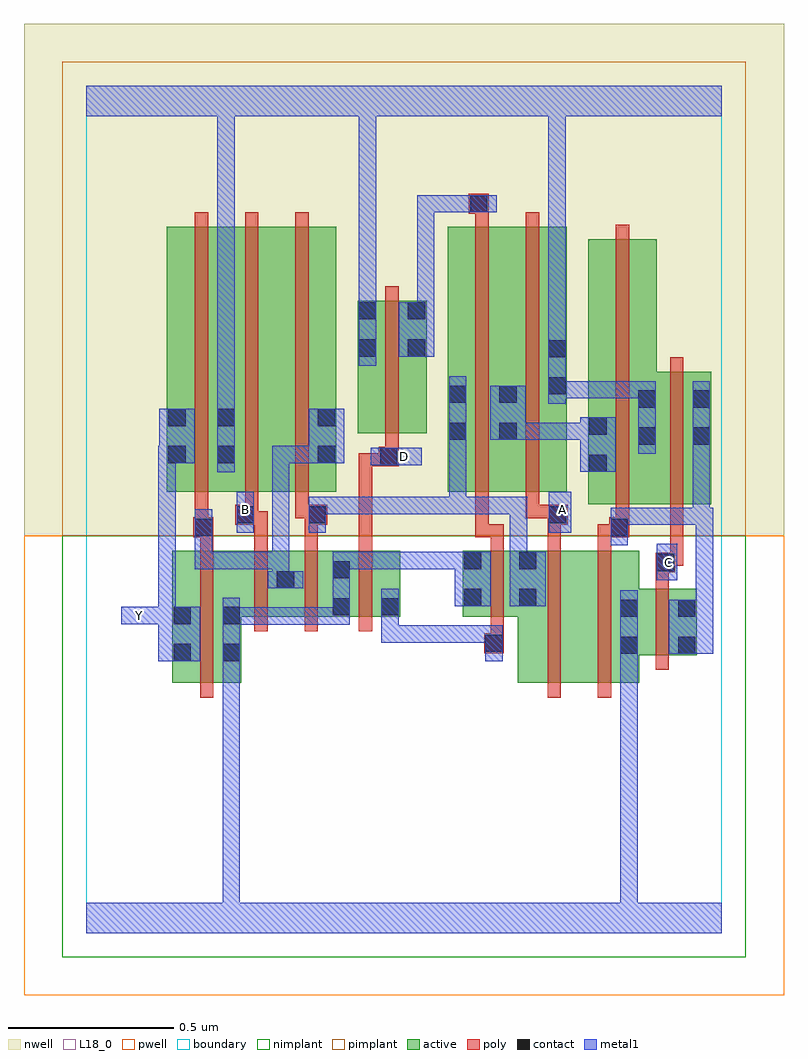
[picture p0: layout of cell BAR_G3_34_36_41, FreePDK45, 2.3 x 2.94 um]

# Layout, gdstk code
import gdstk
lib = gdstk.Library(unit=1e-6, precision=1e-09)
def R(c, l, rs):  # rectangles x0, y0, x1, y1
    for r in rs: c.add(gdstk.rectangle(r[:2], r[2:], *l))
def A(c, l, x, y, w, h, nx, ny, dx, dy):  # array of equal rectangles
    R(c, l, [(x+i*dx, y+j*dy, x+i*dx+w, y+j*dy+h) for i in range(nx) for j in range(ny)])
active = (1, 0)
pwell = (2, 0)
nwell = (3, 0)
nimplant = (4, 0)
pimplant = (5, 0)
poly = (9, 0)
contact = (10, 0)
metal1 = (11, 0)
L18_0 = (18, 0)
boundary = (235, 0)

bar_g3_34_36_41 = lib.new_cell('BAR_G3_34_36_41')
R(bar_g3_34_36_41, active, [(0.26,0.756,0.32,1.156), (0.26,0.756,0.468,1.156), (0.408,0.756,0.468,1.156), (1.304,0.756,1.49,1.156), (1.304,0.756,1.364,1.156), (1.49,0.756,1.67,1.156), (1.61,0.756,1.67,1.04), (1.61,0.84,1.844,1.04), (1.784,0.84,1.844,1.04), (0.408,0.956,0.632,1.156), (0.572,0.956,0.632,1.156), (0.572,0.956,0.8,1.156), (0.74,0.956,0.948,1.156), (0.74,0.956,0.8,1.128), (0.888,0.956,0.948,1.156), (1.138,0.956,1.198,1.156), (1.138,0.956,1.364,1.156), (1.516,1.296,1.724,2.096), (1.516,1.296,1.576,2.096), (1.664,1.296,1.888,1.696), (1.828,1.296,1.888,1.696), (0.244,1.334,0.452,2.134), (0.244,1.334,0.304,2.044), (0.392,1.334,0.452,2.044), (0.392,1.334,0.576,2.134), (0.576,1.334,0.756,2.134), (0.696,1.334,0.756,2.044), (1.092,1.334,1.152,2.044), (1.092,1.334,1.304,2.134), (1.244,1.334,1.452,2.134), (1.244,1.334,1.304,2.134), (1.392,1.334,1.452,2.044), (1.664,1.366,1.724,2.096), (0.82,1.51,0.88,1.91), (0.82,1.51,1.028,1.91), (0.968,1.51,1.028,1.91)])
R(bar_g3_34_36_41, pwell, [(-0.188,-0.188,2.108,1.2)])
R(bar_g3_34_36_41, nwell, [(-0.188,1.2,2.108,2.748)])
R(bar_g3_34_36_41, nimplant, [(-0.072,-0.072,1.992,1.2)])
R(bar_g3_34_36_41, pimplant, [(-0.072,1.2,1.992,2.632)])
A(bar_g3_34_36_41, poly, 0.328, 1.29, 0.04, 0.888, 3, 1, 0.152, 0)
R(bar_g3_34_36_41, poly, [(0.344,0.712,0.384,1.2), (1.394,0.712,1.434,1.2), (1.546,0.712,1.586,1.2), (1.72,0.796,1.76,1.084), (1.202,0.846,1.262,0.906), (1.222,0.866,1.262,0.952), (0.508,0.912,0.548,1.2), (0.66,0.912,0.7,1.2), (0.824,0.912,0.864,1.2), (1.222,0.912,1.262,1.2), (1.72,1.044,1.76,1.13), (1.72,1.09,1.78,1.15), (1.74,1.11,1.78,1.15), (1.74,1.11,1.804,1.15), (1.764,1.11,1.804,1.292), (0.344,1.16,0.384,1.236), (0.508,1.16,0.548,1.274), (0.66,1.16,0.7,1.274), (0.824,1.16,0.864,1.45), (1.222,1.16,1.262,1.236), (1.394,1.16,1.434,1.274), (1.546,1.16,1.586,1.236), (0.324,1.196,0.384,1.256), (1.176,1.196,1.216,1.236), (1.176,1.196,1.216,1.236), (1.176,1.196,1.216,1.33), (1.176,1.196,1.262,1.236), (1.546,1.196,1.62,1.236), (1.58,1.196,1.62,1.236), (1.58,1.196,1.64,1.256), (0.328,1.216,0.368,1.256), (0.328,1.216,0.368,1.256), (0.328,1.216,0.368,1.33), (1.6,1.216,1.64,1.292), (0.45,1.234,0.52,1.294), (0.48,1.234,0.52,1.274), (0.48,1.234,0.548,1.274), (0.66,1.234,0.728,1.294), (1.394,1.234,1.454,1.294), (1.6,1.252,1.64,2.14), (1.764,1.252,1.804,1.74), (0.48,1.254,0.52,1.33), (0.632,1.254,0.672,1.33), (0.632,1.254,0.7,1.294), (0.66,1.254,0.7,1.294), (1.328,1.254,1.368,1.33), (1.328,1.254,1.434,1.294), (1.394,1.254,1.434,1.294), (1.176,1.29,1.216,2.178), (1.328,1.29,1.368,2.178), (0.824,1.41,0.924,1.45), (0.884,1.41,0.924,1.45), (0.884,1.41,0.944,1.47), (0.904,1.43,0.944,1.506), (0.904,1.466,0.944,1.954), (1.176,2.138,1.216,2.214), (1.156,2.174,1.216,2.234)])
R(bar_g3_34_36_41, contact, [(0.264,0.822,0.316,0.874), (0.412,0.822,0.464,0.874), (1.614,0.844,1.666,0.896), (1.788,0.844,1.84,0.896), (1.206,0.85,1.258,0.902), (0.264,0.934,0.316,0.986), (0.412,0.934,0.464,0.986), (1.614,0.956,1.666,1.008), (1.788,0.956,1.84,1.008), (0.744,0.96,0.796,1.012), (0.892,0.96,0.944,1.012), (1.142,0.988,1.194,1.04), (1.308,0.988,1.36,1.04), (0.576,1.042,0.628,1.094), (0.744,1.072,0.796,1.124), (1.724,1.094,1.776,1.146), (1.142,1.1,1.194,1.152), (1.308,1.1,1.36,1.152), (0.328,1.2,0.38,1.252), (1.584,1.2,1.636,1.252), (0.454,1.238,0.506,1.29), (0.672,1.238,0.724,1.29), (1.398,1.238,1.45,1.29), (1.52,1.394,1.572,1.446), (0.888,1.414,0.94,1.466), (0.248,1.42,0.3,1.472), (0.396,1.42,0.448,1.472), (0.7,1.42,0.752,1.472), (1.668,1.476,1.72,1.528), (1.832,1.476,1.884,1.528), (1.096,1.49,1.148,1.542), (1.248,1.49,1.3,1.542), (1.52,1.506,1.572,1.558), (0.248,1.532,0.3,1.584), (0.396,1.532,0.448,1.584), (0.7,1.532,0.752,1.584), (1.668,1.588,1.72,1.64), (1.832,1.588,1.884,1.64), (1.096,1.602,1.148,1.654), (1.248,1.602,1.3,1.654), (1.396,1.628,1.448,1.68), (1.396,1.74,1.448,1.792), (0.824,1.742,0.876,1.794), (0.972,1.742,1.024,1.794), (0.824,1.854,0.876,1.906), (0.972,1.854,1.024,1.906), (1.16,2.178,1.212,2.23)])
A(bar_g3_34_36_41, metal1, 0.672, 1.266, 0.052, 0.052, 3, 1, 0.11, 0)
R(bar_g3_34_36_41, metal1, [(0,0,1.92,0.092), (0.412,0.04,0.464,0.092), (0.412,0.04,0.464,0.092), (0.412,0.04,0.464,0.092), (0.412,0.04,0.464,0.092), (0.412,0.04,0.464,0.092), (0.412,0.04,0.464,0.092), (0.412,0.04,0.464,0.092), (0.412,0.04,0.464,0.092), (0.412,0.04,0.464,0.092), (0.412,0.04,0.464,0.092), (0.412,0.04,0.464,0.092), (0.412,0.04,0.464,0.092), (0.412,0.04,0.464,0.846), (1.614,0.04,1.666,0.092), (1.614,0.04,1.666,0.092), (1.614,0.04,1.666,0.092), (1.614,0.04,1.666,0.092), (1.614,0.04,1.666,0.092), (1.614,0.04,1.666,0.092), (1.614,0.04,1.666,0.092), (1.614,0.04,1.666,0.092), (1.614,0.04,1.666,0.092), (1.614,0.04,1.666,0.092), (1.614,0.04,1.666,0.092), (1.614,0.04,1.666,0.092), (1.614,0.04,1.666,0.868), (0.412,0.794,0.464,1.014), (1.614,0.816,1.666,1.036), (0.218,0.822,0.344,0.986), (1.206,0.822,1.258,0.93), (1.76,0.844,1.894,1.008), (0.892,0.878,0.944,0.93), (0.892,0.878,1.162,0.93), (0.892,0.878,0.944,0.984), (1.11,0.878,1.162,0.93), (1.11,0.878,1.258,0.93), (0.412,0.932,0.614,0.984), (0.562,0.932,0.614,0.984), (0.562,0.932,0.614,0.984), (0.562,0.932,0.614,0.984), (0.562,0.932,0.614,0.984), (0.562,0.932,0.614,0.984), (0.562,0.932,0.614,0.984), (0.562,0.932,0.614,0.984), (0.562,0.932,0.724,0.984), (0.672,0.932,0.724,0.984), (0.672,0.932,0.796,0.984), (0.744,0.932,0.796,1.152), (0.892,0.932,0.944,1.04), (0.106,0.934,0.27,0.986), (0.218,0.934,0.27,0.986), (0.218,0.934,0.27,1.472), (1.842,0.956,1.894,1.286), (1.114,0.988,1.222,1.152), (1.28,0.988,1.388,1.152), (0.548,1.042,0.656,1.094), (0.562,1.042,0.614,1.152), (1.724,1.066,1.786,1.176), (0.328,1.1,0.38,1.224), (0.328,1.1,0.614,1.152), (0.562,1.1,0.614,1.152), (0.562,1.1,0.614,1.152), (0.562,1.1,0.614,1.152), (0.562,1.1,0.614,1.472), (0.744,1.1,0.796,1.152), (0.744,1.1,0.796,1.152), (0.744,1.1,0.834,1.152), (0.782,1.1,0.834,1.152), (0.782,1.1,0.944,1.152), (0.892,1.1,0.944,1.152), (0.892,1.1,0.944,1.152), (0.892,1.1,0.944,1.152), (0.892,1.1,1.166,1.152), (1.28,1.1,1.332,1.318), (0.328,1.172,0.38,1.224), (0.328,1.172,0.38,1.28), (1.584,1.172,1.636,1.28), (0.454,1.21,0.506,1.334), (0.672,1.21,0.724,1.318), (1.398,1.21,1.466,1.334), (1.584,1.228,1.636,1.28), (1.584,1.228,1.636,1.286), (1.584,1.234,1.884,1.286), (1.832,1.234,1.884,1.5), (1.832,1.234,1.884,1.286), (1.832,1.234,1.884,1.286), (1.832,1.234,1.894,1.286), (1.842,1.234,1.894,1.286), (1.842,1.234,1.894,1.286), (0.672,1.266,0.724,1.318), (0.672,1.266,0.834,1.318), (0.782,1.266,0.944,1.318), (0.892,1.266,0.944,1.318), (0.892,1.266,0.944,1.318), (0.892,1.266,1.148,1.318), (1.096,1.266,1.148,1.318), (1.096,1.266,1.148,1.318), (1.096,1.266,1.148,1.318), (1.096,1.266,1.164,1.318), (1.096,1.266,1.148,1.514), (1.112,1.266,1.164,1.318), (1.112,1.266,1.332,1.318), (1.28,1.266,1.332,1.318), (0.396,1.392,0.448,1.612), (1.492,1.394,1.6,1.558), (0.86,1.414,1.014,1.466), (0.218,1.42,0.272,1.472), (0.22,1.42,0.272,1.472), (0.22,1.42,0.328,1.584), (0.562,1.42,0.614,1.472), (0.562,1.42,0.724,1.472), (0.672,1.42,0.724,1.472), (0.672,1.42,0.724,1.472), (0.672,1.42,0.724,1.472), (0.672,1.42,0.724,1.472), (0.672,1.42,0.78,1.584), (1.668,1.448,1.72,1.668), (1.832,1.448,1.884,1.668), (1.096,1.462,1.148,1.682), (1.22,1.49,1.328,1.654), (1.276,1.49,1.332,1.542), (1.28,1.49,1.332,1.542), (1.28,1.49,1.448,1.542), (1.396,1.49,1.448,1.542), (1.396,1.49,1.544,1.542), (0.396,1.56,0.448,1.612), (0.396,1.56,0.448,1.612), (0.396,1.56,0.448,1.612), (0.396,1.56,0.448,1.612), (0.396,1.56,0.448,2.52), (1.396,1.6,1.448,1.82), (1.396,1.616,1.448,1.668), (1.396,1.616,1.448,1.668), (1.396,1.616,1.558,1.668), (1.506,1.616,1.558,1.668), (1.506,1.616,1.72,1.668), (0.824,1.714,0.876,1.934), (0.944,1.742,1.052,1.906), (1.396,1.768,1.448,1.82), (1.396,1.768,1.448,1.82), (1.396,1.768,1.448,2.52), (1,1.854,1.052,1.906), (1,1.854,1.052,1.906), (1,1.854,1.052,1.906), (1,1.854,1.052,1.906), (1,1.854,1.052,1.906), (1,1.854,1.052,1.906), (1,1.854,1.052,2.23), (0.824,1.882,0.876,1.934), (0.824,1.882,0.876,1.934), (0.824,1.882,0.876,1.934), (0.824,1.882,0.876,1.934), (0.824,1.882,0.876,1.934), (0.824,1.882,0.876,1.934), (0.824,1.882,0.876,1.934), (0.824,1.882,0.876,1.934), (0.824,1.882,0.876,1.934), (0.824,1.882,0.876,1.934), (0.824,1.882,0.876,1.934), (0.824,1.882,0.876,1.934), (0.824,1.882,0.876,1.934), (0.824,1.882,0.876,1.934), (0.824,1.882,0.876,2.52), (1,2.178,1.054,2.23), (1.002,2.178,1.054,2.23), (1.002,2.178,1.054,2.23), (1.002,2.178,1.054,2.23), (1.002,2.178,1.054,2.23), (1.002,2.178,1.184,2.23), (1.132,2.178,1.24,2.23), (0,2.468,1.92,2.56), (0.396,2.468,0.448,2.52), (0.396,2.468,0.448,2.52), (0.396,2.468,0.448,2.52), (0.396,2.468,0.448,2.52), (0.824,2.468,0.876,2.52), (0.824,2.468,0.876,2.52), (1.396,2.468,1.448,2.52), (1.396,2.468,1.448,2.52), (1.396,2.468,1.448,2.52), (1.396,2.468,1.448,2.52), (1.396,2.468,1.448,2.52), (1.396,2.468,1.448,2.52)])
R(bar_g3_34_36_41, L18_0, [(0,0,1.92,0.092), (0.412,0.04,0.464,0.092), (0.412,0.04,0.464,0.092), (0.412,0.04,0.464,0.092), (0.412,0.04,0.464,0.092), (0.412,0.04,0.464,0.092), (0.412,0.04,0.464,0.092), (0.412,0.04,0.464,0.092), (0.412,0.04,0.464,0.092), (0.412,0.04,0.464,0.092), (0.412,0.04,0.464,0.092), (0.412,0.04,0.464,0.092), (0.412,0.04,0.464,0.092), (0.412,0.04,0.464,0.846), (1.614,0.04,1.666,0.092), (1.614,0.04,1.666,0.092), (1.614,0.04,1.666,0.092), (1.614,0.04,1.666,0.092), (1.614,0.04,1.666,0.092), (1.614,0.04,1.666,0.092), (1.614,0.04,1.666,0.092), (1.614,0.04,1.666,0.092), (1.614,0.04,1.666,0.092), (1.614,0.04,1.666,0.092), (1.614,0.04,1.666,0.092), (1.614,0.04,1.666,0.092), (1.614,0.04,1.666,0.868), (0.412,0.794,0.464,1.014), (1.614,0.816,1.666,1.036), (0.218,0.822,0.344,0.986), (0.412,0.932,0.614,0.984), (0.562,0.932,0.614,0.984), (0.562,0.932,0.614,0.984), (0.562,0.932,0.614,0.984), (0.562,0.932,0.614,0.984), (0.562,0.932,0.614,0.984), (0.562,0.932,0.614,0.984), (0.562,0.932,0.614,0.984), (0.562,0.932,0.724,0.984), (0.672,0.932,0.724,0.984), (0.672,0.932,0.796,0.984), (0.744,0.932,0.796,1.152), (0.106,0.934,0.27,0.986), (0.134,0.934,0.186,0.986), (0.218,0.934,0.27,0.986), (0.218,0.934,0.27,1.472), (1.114,0.988,1.222,1.152), (1.724,1.066,1.786,1.176), (1.734,1.094,1.786,1.146), (0.744,1.1,0.796,1.152), (0.744,1.1,0.796,1.152), (0.744,1.1,0.834,1.152), (0.782,1.1,0.834,1.152), (0.782,1.1,0.944,1.152), (0.892,1.1,0.944,1.152), (0.892,1.1,0.944,1.152), (0.892,1.1,0.944,1.152), (0.892,1.1,1.166,1.152), (0.454,1.21,0.506,1.334), (1.398,1.21,1.466,1.334), (0.454,1.254,0.506,1.306), (1.414,1.254,1.466,1.306), (0.396,1.392,0.448,1.612), (0.86,1.414,1.014,1.466), (0.934,1.414,0.986,1.466), (0.218,1.42,0.272,1.472), (0.22,1.42,0.272,1.472), (0.22,1.42,0.328,1.584), (1.668,1.448,1.72,1.668), (0.396,1.56,0.448,1.612), (0.396,1.56,0.448,1.612), (0.396,1.56,0.448,1.612), (0.396,1.56,0.448,1.612), (0.396,1.56,0.448,2.52), (1.396,1.6,1.448,1.82), (1.396,1.616,1.448,1.668), (1.396,1.616,1.448,1.668), (1.396,1.616,1.558,1.668), (1.506,1.616,1.558,1.668), (1.506,1.616,1.72,1.668), (0.824,1.714,0.876,1.934), (1.396,1.768,1.448,1.82), (1.396,1.768,1.448,1.82), (1.396,1.768,1.448,2.52), (0.824,1.882,0.876,1.934), (0.824,1.882,0.876,1.934), (0.824,1.882,0.876,1.934), (0.824,1.882,0.876,1.934), (0.824,1.882,0.876,1.934), (0.824,1.882,0.876,1.934), (0.824,1.882,0.876,1.934), (0.824,1.882,0.876,1.934), (0.824,1.882,0.876,1.934), (0.824,1.882,0.876,1.934), (0.824,1.882,0.876,1.934), (0.824,1.882,0.876,1.934), (0.824,1.882,0.876,1.934), (0.824,1.882,0.876,1.934), (0.824,1.882,0.876,2.52), (0,2.468,1.92,2.56), (0.396,2.468,0.448,2.52), (0.396,2.468,0.448,2.52), (0.396,2.468,0.448,2.52), (0.396,2.468,0.448,2.52), (0.824,2.468,0.876,2.52), (0.824,2.468,0.876,2.52), (1.396,2.468,1.448,2.52), (1.396,2.468,1.448,2.52), (1.396,2.468,1.448,2.52), (1.396,2.468,1.448,2.52), (1.396,2.468,1.448,2.52), (1.396,2.468,1.448,2.52)])
R(bar_g3_34_36_41, boundary, [(0,0,1.92,2.56)])
bar_g3_34_36_41.add(gdstk.Label('A', (1.44,1.28), layer=11, texttype=0))
bar_g3_34_36_41.add(gdstk.Label('B', (0.48,1.28), layer=11, texttype=0))
bar_g3_34_36_41.add(gdstk.Label('C', (1.76,1.12), layer=11, texttype=0))
bar_g3_34_36_41.add(gdstk.Label('D', (0.96,1.44), layer=11, texttype=0))
bar_g3_34_36_41.add(gdstk.Label('Y', (0.16,0.96), layer=11, texttype=0))

lib.write_gds('BAR_G3_34_36_41.gds')
